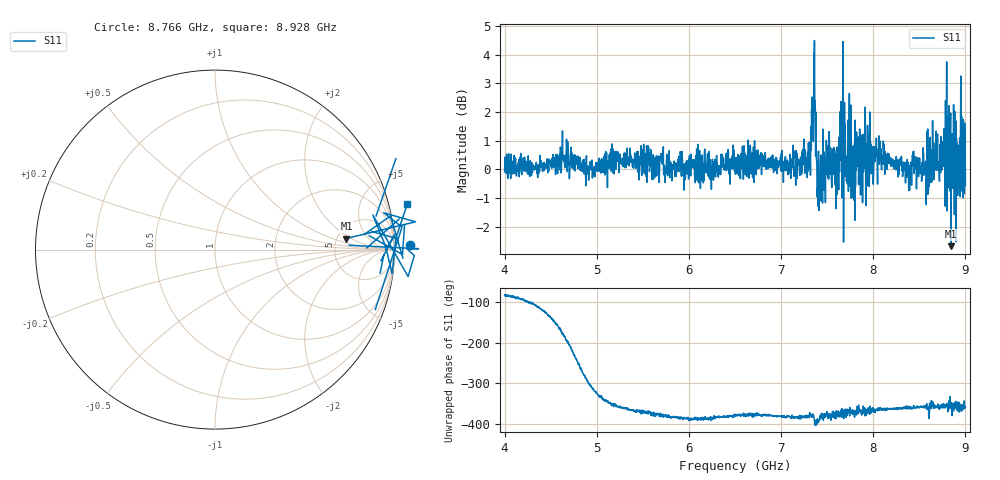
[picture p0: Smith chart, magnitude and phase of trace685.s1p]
! Created with skrf 1.8.0 (http://scikit-rf.org).
# Hz S RI R 50.0
!freq ReS11 ImS11
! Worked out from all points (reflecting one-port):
!   1601 points, 4 GHz to 9 GHz, reference 50 ohm
!   lowest |S11| = -2.7 dB at 8.844 GHz (marker M1), VSWR 6.54, Z = 304 + j81.8 ohm
!   phase of S11 starts at -82 deg and turns -278 deg over the sweep
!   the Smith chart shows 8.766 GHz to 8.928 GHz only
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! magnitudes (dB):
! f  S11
! 4 GHz  -0.1
! 4.625 GHz  0.7
! 4.894 GHz  0.0
! 5.25 GHz  0.5
! 5.875 GHz  0.2
! 6.5 GHz  0.3
! 7.125 GHz  0.2
! 7.294 GHz  -0.1
! 7.356 GHz  4.1
! 7.412 GHz  -1.4
! 7.512 GHz  0.8
! 7.609 GHz  0.8
! 7.65 GHz  2.4
! 7.703 GHz  0.4
! 7.75 GHz  -0.6
! 7.784 GHz  0.4
! 7.834 GHz  0.7
! 7.928 GHz  0.9
! 8.375 GHz  -0.1
! 8.441 GHz  -0.1
! 8.612 GHz  0.8
! 8.669 GHz  0.5
! 8.728 GHz  0.1
! 8.816 GHz  -0.6
! 8.844 GHz  -2.7
! 8.919 GHz  -0.4
! 8.956 GHz  -0.1
! 9 GHz  -0.6
